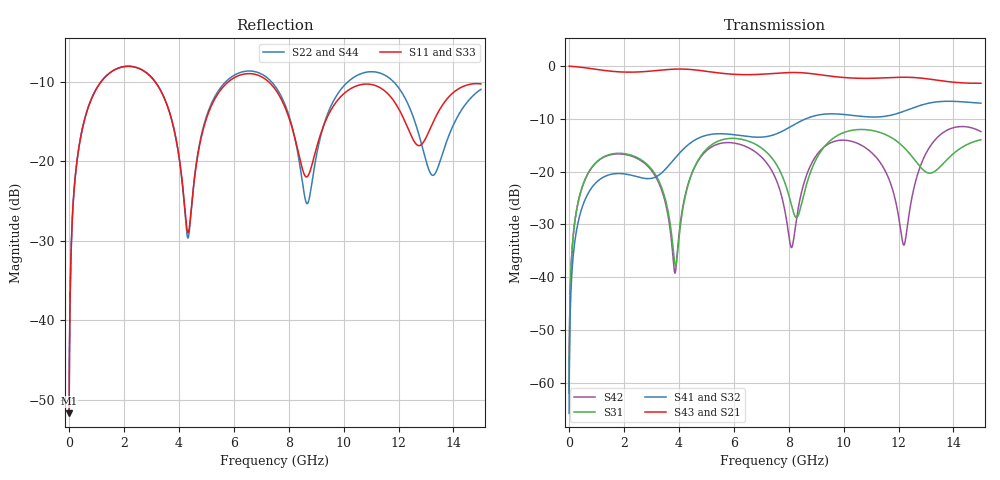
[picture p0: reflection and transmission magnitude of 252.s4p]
! Created with skrf 1.8.0 (http://scikit-rf.org).
# GHz S RI R 50.0
!freq ReS11 ImS11 ReS12 ImS12 ReS13 ImS13
! ReS14 ImS14
! ReS21 ImS21 ReS22 ImS22 ReS23 ImS23
! ReS24 ImS24
! ReS31 ImS31 ReS32 ImS32 ReS33 ImS33
! ReS34 ImS34
! ReS41 ImS41 ReS42 ImS42 ReS43 ImS43
! ReS44 ImS44
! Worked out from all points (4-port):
!   2499 points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, 5 MHz to 15 GHz, reference 50 ohm
!   strongest paths, dB at 5 MHz, 3.476 GHz, 7.19 GHz, 11.1 GHz, 15 GHz:
!     S43: 0.0, -0.7, -1.5, -2.3, -3.3
!     S21: 0.0, -0.7, -1.5, -2.3, -3.3
!     S41: -65.8, -19.7, -13.4, -9.7, -7.0
!     S32: -65.8, -19.7, -13.4, -9.7, -7.0
!     S31: -61.9, -24.6, -16.3, -12.3, -14.0
!     S42: -61.9, -25.2, -18.3, -16.8, -12.4
!   lowest |S11| = -51.7 dB at 5 MHz (marker M1), VSWR 1.01, Z = 50.2 + j0.158 ohm
!   |S11| at or under -10 dB: start of sweep to 1.17 GHz; 3.135 GHz to 5.806 GHz (2.67 GHz wide, 59.7 % of centre); 7.269 GHz to end of sweep
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0.005  0.00207 0.00157  0.9979 -0.00402  0.000104 0.000793  -0.000101 -0.000502
       0.9979 -0.00402  0.00207 0.00157  -0.000101 -0.000502  0.000104 0.000793
       0.000104 0.000793  -0.000101 -0.000502  0.00207 0.00157  0.9979 -0.00402
       -0.000101 -0.000502  0.000104 0.000793  0.9979 -0.00402  0.00207 0.00157
0.2626094  0.0273 0.0869  0.9629 -0.2102  0.0122 0.0393  -0.0101 -0.0245
           0.9629 -0.2102  0.0274 0.0868  -0.0101 -0.0245  0.0119 0.0393
           0.0122 0.0393  -0.0101 -0.0245  0.0273 0.0869  0.9629 -0.2102
           -0.0101 -0.0245  0.0119 0.0393  0.9629 -0.2102  0.0274 0.0868
1.269279  0.2816 0.1754  0.5261 -0.742  0.1276 0.053  -0.089 -0.00288
          0.5261 -0.742  0.2827 0.1746  -0.089 -0.0029  0.1245 0.0574
          0.1276 0.053  -0.089 -0.0029  0.2816 0.1754  0.5261 -0.742
          -0.089 -0.00288  0.1245 0.0574  0.5261 -0.742  0.2827 0.1746
4.245519  0.0357 -0.0276  -0.9271 -0.12  -0.0016 0.0601  -0.0188 0.17
          -0.9271 -0.12  0.0329 -0.0272  -0.0191 0.1699  -0.00684 0.0615
          -0.0016 0.0601  -0.0191 0.1699  0.0367 -0.028  -0.9271 -0.1202
          -0.0188 0.17  -0.00684 0.0615  -0.9271 -0.1202  0.0321 -0.0278
8.672363  0.0799 4.66e-05  0.846 0.1338  0.000609 0.0791  0.04 -0.3176
          0.846 0.1338  0.0539 -0.00437  0.0417 -0.3174  -0.00163 0.0958
          0.000609 0.0791  0.0417 -0.3174  0.0792 0.000493  0.8461 0.1337
          0.04 -0.3176  -0.00163 0.0958  0.8461 0.1337  0.0541 -0.00378
11.47353  0.2723 -0.062  -0.1327 -0.7595  0.0734 -0.2154  -0.3158 0.1065
          -0.1327 -0.7595  0.3307 -0.1148  -0.3155 0.1033  0.0956 -0.047
          0.0734 -0.2154  -0.3155 0.1033  0.2669 -0.0652  -0.1336 -0.7612
          -0.3158 0.1065  0.0956 -0.047  -0.1336 -0.7612  0.3261 -0.1103
15  0.3066 -0.00669  -0.3295 0.6029  0.175 -0.0975  0.423 0.1381
    -0.3295 0.6029  0.2775 0.0568  0.4214 0.1415  0.2328 -0.056
    0.175 -0.0975  0.4214 0.1415  0.3066 -0.00588  -0.3293 0.6031
    0.423 0.1381  0.2328 -0.056  -0.3293 0.6031  0.2764 0.0571
